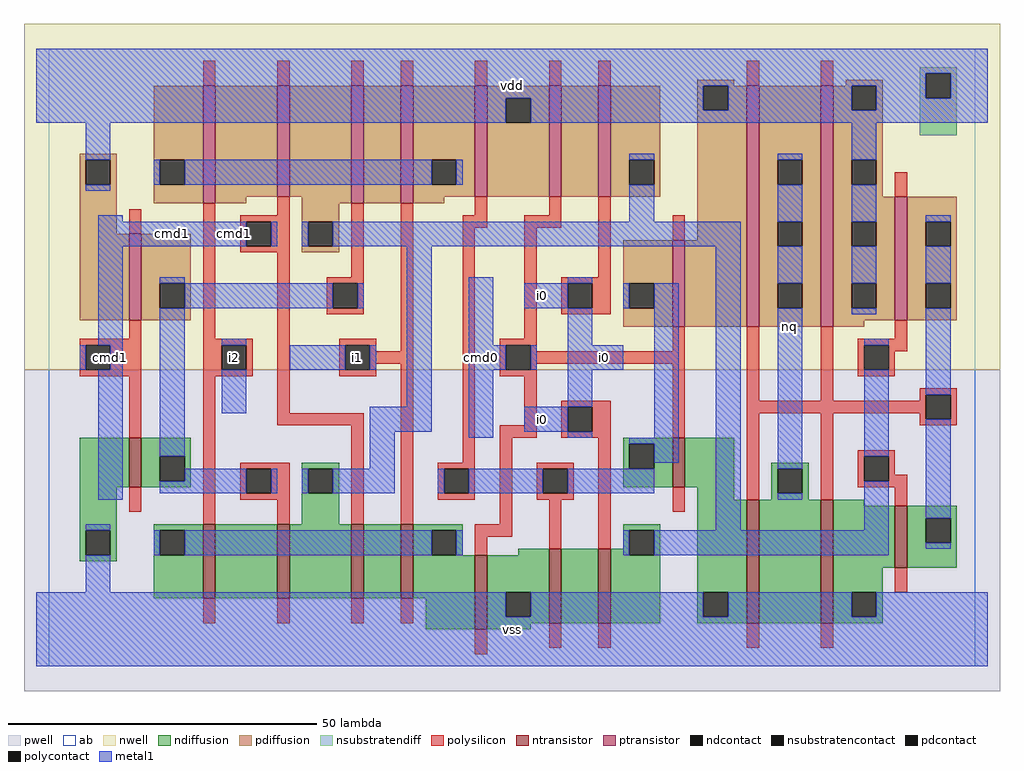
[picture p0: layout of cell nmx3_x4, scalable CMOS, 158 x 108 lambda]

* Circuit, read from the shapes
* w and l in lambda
.subckt nmx3_x4 cmd0 cmd1 i0 i1 i2 nq vdd vss
M1 n1 cmd1 vss VSUBS nfet w=8 l=2
M2 n2 i2 n3 VSUBS nfet w=12 l=2
M3 n4 n1 n2 VSUBS nfet w=12 l=2
M4 n5 cmd1 n4 VSUBS nfet w=12 l=2
M5 n3 i1 n5 VSUBS nfet w=12 l=2
M6 vss cmd0 n3 VSUBS nfet w=12 l=2
M7 n6 n7 vss VSUBS nfet w=12 l=2
M8 n4 i0 n6 VSUBS nfet w=12 l=2
M9 vss cmd0 n7 VSUBS nfet w=8 l=2
M10 nq n8 vss VSUBS nfet w=20 l=2 m=2
M11 n8 n4 vss VSUBS nfet w=10 l=2
M12 n1 cmd1 vdd vdd pfet w=14 l=2
M13 n9 i2 n10 vdd pfet w=19 l=2
M14 n4 cmd1 n9 vdd pfet w=18 l=2
M15 n11 n1 n4 vdd pfet w=19 l=2
M16 n10 i1 n11 vdd pfet w=19 l=2
M17 vdd n7 n10 vdd pfet w=18 l=2
M18 n12 cmd0 vdd vdd pfet w=18 l=2
M19 n4 i0 n12 vdd pfet w=18 l=2
M20 vdd cmd0 n7 vdd pfet w=14 l=2
M21 nq n8 vdd vdd pfet w=39 l=2 m=2
M22 n8 n4 vdd vdd pfet w=20 l=2
.ends

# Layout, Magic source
magic
tech scmos
<< ab >>
rect 0 0 150 100
<< pwell >>
rect -4 -4 154 48
<< nwell >>
rect -4 48 154 104
<< polysilicon >>
rect 25 94 27 98
rect 37 94 39 98
rect 49 94 51 98
rect 57 94 59 98
rect 69 94 71 98
rect 81 94 83 98
rect 89 94 91 98
rect 113 94 115 98
rect 125 94 127 98
rect 13 70 15 74
rect 13 53 15 56
rect 5 52 15 53
rect 5 48 6 52
rect 10 48 15 52
rect 5 47 15 48
rect 13 37 15 47
rect 25 53 27 75
rect 37 73 39 76
rect 31 72 39 73
rect 31 68 32 72
rect 36 68 39 72
rect 31 67 39 68
rect 25 52 33 53
rect 25 48 28 52
rect 32 48 33 52
rect 25 47 33 48
rect 13 25 15 29
rect 25 23 27 47
rect 37 41 39 67
rect 49 63 51 75
rect 45 62 51 63
rect 45 58 46 62
rect 50 58 51 62
rect 45 57 51 58
rect 47 52 53 53
rect 47 48 48 52
rect 52 51 53 52
rect 57 51 59 75
rect 69 73 71 76
rect 81 73 83 76
rect 52 49 59 51
rect 52 48 53 49
rect 47 47 53 48
rect 37 39 51 41
rect 31 32 39 33
rect 31 28 32 32
rect 36 28 39 32
rect 31 27 39 28
rect 37 23 39 27
rect 49 23 51 39
rect 57 23 59 49
rect 67 71 71 73
rect 77 71 83 73
rect 67 33 69 71
rect 77 53 79 71
rect 89 63 91 76
rect 101 69 103 73
rect 83 62 91 63
rect 83 58 84 62
rect 88 58 91 62
rect 83 57 91 58
rect 137 76 139 80
rect 73 52 79 53
rect 73 48 74 52
rect 78 51 79 52
rect 101 51 103 55
rect 78 49 103 51
rect 78 48 79 49
rect 73 47 79 48
rect 77 39 79 47
rect 63 32 69 33
rect 63 28 64 32
rect 68 28 69 32
rect 63 27 69 28
rect 73 37 79 39
rect 83 42 91 43
rect 83 38 84 42
rect 88 38 91 42
rect 83 37 91 38
rect 101 37 103 49
rect 113 43 115 55
rect 125 43 127 55
rect 137 53 139 56
rect 131 52 139 53
rect 131 48 132 52
rect 136 51 139 52
rect 136 48 137 51
rect 131 47 137 48
rect 141 44 147 45
rect 141 43 142 44
rect 113 41 142 43
rect 73 23 75 37
rect 79 32 85 33
rect 79 28 80 32
rect 84 28 85 32
rect 79 27 85 28
rect 69 21 75 23
rect 69 18 71 21
rect 81 19 83 27
rect 89 19 91 37
rect 101 25 103 29
rect 113 27 115 41
rect 125 27 127 41
rect 141 40 142 41
rect 146 40 147 44
rect 141 39 147 40
rect 131 34 137 35
rect 131 30 132 34
rect 136 31 137 34
rect 136 30 139 31
rect 131 29 139 30
rect 25 7 27 11
rect 37 7 39 11
rect 49 7 51 11
rect 57 7 59 11
rect 137 26 139 29
rect 137 12 139 16
rect 69 2 71 6
rect 81 3 83 7
rect 89 3 91 7
rect 113 3 115 7
rect 125 3 127 7
<< ndiffusion >>
rect 5 29 13 37
rect 15 34 23 37
rect 15 30 18 34
rect 22 30 23 34
rect 15 29 23 30
rect 5 22 11 29
rect 41 32 47 33
rect 41 28 42 32
rect 46 28 47 32
rect 41 23 47 28
rect 5 18 6 22
rect 10 18 11 22
rect 5 17 11 18
rect 17 22 25 23
rect 17 18 18 22
rect 22 18 25 22
rect 17 11 25 18
rect 27 11 37 23
rect 39 11 49 23
rect 51 11 57 23
rect 59 22 67 23
rect 59 18 62 22
rect 66 18 67 22
rect 93 36 101 37
rect 93 32 94 36
rect 98 32 101 36
rect 93 29 101 32
rect 103 29 111 37
rect 105 27 111 29
rect 117 32 123 33
rect 117 28 118 32
rect 122 28 123 32
rect 117 27 123 28
rect 93 22 99 23
rect 93 19 94 22
rect 76 18 81 19
rect 59 11 69 18
rect 61 6 69 11
rect 71 12 81 18
rect 71 8 74 12
rect 78 8 81 12
rect 71 7 81 8
rect 83 7 89 19
rect 91 18 94 19
rect 98 18 99 22
rect 91 7 99 18
rect 105 12 113 27
rect 105 8 106 12
rect 110 8 113 12
rect 105 7 113 8
rect 115 7 125 27
rect 127 26 132 27
rect 127 16 137 26
rect 139 24 147 26
rect 139 20 142 24
rect 146 20 147 24
rect 139 16 147 20
rect 127 12 135 16
rect 127 8 130 12
rect 134 8 135 12
rect 127 7 135 8
rect 71 6 78 7
<< pdiffusion >>
rect 105 94 111 95
rect 129 94 135 95
rect 5 82 11 83
rect 5 78 6 82
rect 10 78 11 82
rect 5 70 11 78
rect 17 82 25 94
rect 17 78 18 82
rect 22 78 25 82
rect 17 75 25 78
rect 27 76 37 94
rect 39 76 49 94
rect 27 75 32 76
rect 5 56 13 70
rect 15 62 23 70
rect 15 58 18 62
rect 22 58 23 62
rect 15 56 23 58
rect 41 75 49 76
rect 51 75 57 94
rect 59 82 69 94
rect 59 78 62 82
rect 66 78 69 82
rect 59 76 69 78
rect 71 92 81 94
rect 71 88 74 92
rect 78 88 81 92
rect 71 76 81 88
rect 83 76 89 94
rect 91 82 99 94
rect 91 78 94 82
rect 98 78 99 82
rect 91 76 99 78
rect 105 90 106 94
rect 110 90 113 94
rect 59 75 64 76
rect 41 72 47 75
rect 41 68 42 72
rect 46 68 47 72
rect 41 67 47 68
rect 105 69 113 90
rect 93 62 101 69
rect 93 58 94 62
rect 98 58 101 62
rect 93 55 101 58
rect 103 55 113 69
rect 115 82 125 94
rect 115 78 118 82
rect 122 78 125 82
rect 115 72 125 78
rect 115 68 118 72
rect 122 68 125 72
rect 115 62 125 68
rect 115 58 118 62
rect 122 58 125 62
rect 115 55 125 58
rect 127 90 130 94
rect 134 90 135 94
rect 127 82 135 90
rect 127 78 130 82
rect 134 78 135 82
rect 127 76 135 78
rect 127 72 137 76
rect 127 68 130 72
rect 134 68 137 72
rect 127 62 137 68
rect 127 58 130 62
rect 134 58 137 62
rect 127 56 137 58
rect 139 72 147 76
rect 139 68 142 72
rect 146 68 147 72
rect 139 62 147 68
rect 139 58 142 62
rect 146 58 147 62
rect 139 56 147 58
rect 127 55 132 56
<< metal1 >>
rect -2 96 152 100
rect -2 94 142 96
rect -2 92 106 94
rect -2 88 74 92
rect 78 90 106 92
rect 110 90 130 94
rect 134 92 142 94
rect 146 92 152 96
rect 134 90 152 92
rect 78 88 152 90
rect 6 82 10 88
rect 94 82 98 83
rect 17 78 18 82
rect 22 78 62 82
rect 66 78 67 82
rect 6 77 10 78
rect 8 72 12 73
rect 94 72 98 78
rect 118 82 122 83
rect 118 72 122 78
rect 8 68 32 72
rect 36 68 37 72
rect 41 68 42 72
rect 46 68 112 72
rect 8 52 12 68
rect 5 48 6 52
rect 10 48 12 52
rect 8 27 12 48
rect 18 62 22 63
rect 22 58 46 62
rect 50 58 51 62
rect 18 34 22 58
rect 28 52 32 53
rect 39 48 48 52
rect 52 48 53 52
rect 28 41 32 48
rect 58 42 62 68
rect 52 38 62 42
rect 68 52 72 63
rect 84 62 88 63
rect 77 58 84 62
rect 93 58 94 62
rect 84 52 88 58
rect 68 48 74 52
rect 78 48 79 52
rect 84 48 93 52
rect 52 32 56 38
rect 68 37 72 48
rect 84 42 88 48
rect 77 38 84 42
rect 84 37 88 38
rect 98 37 102 62
rect 94 36 102 37
rect 98 33 102 36
rect 22 30 32 32
rect 18 28 32 30
rect 36 28 37 32
rect 41 28 42 32
rect 46 28 56 32
rect 63 28 64 32
rect 68 28 80 32
rect 84 28 98 32
rect 6 22 10 23
rect 108 22 112 68
rect 118 62 122 68
rect 118 32 122 58
rect 130 82 134 88
rect 130 72 134 78
rect 130 62 134 68
rect 130 57 134 58
rect 142 72 146 73
rect 142 62 146 68
rect 118 27 122 28
rect 132 52 136 53
rect 132 34 136 48
rect 132 22 136 30
rect 17 18 18 22
rect 22 18 62 22
rect 66 18 67 22
rect 93 18 94 22
rect 98 18 136 22
rect 142 44 146 58
rect 142 24 146 40
rect 142 19 146 20
rect 6 12 10 18
rect -2 8 74 12
rect 78 8 106 12
rect 110 8 130 12
rect 134 8 152 12
rect -2 0 152 8
<< ntransistor >>
rect 13 29 15 37
rect 25 11 27 23
rect 37 11 39 23
rect 49 11 51 23
rect 57 11 59 23
rect 101 29 103 37
rect 69 6 71 18
rect 81 7 83 19
rect 89 7 91 19
rect 113 7 115 27
rect 125 7 127 27
rect 137 16 139 26
<< ptransistor >>
rect 25 75 27 94
rect 37 76 39 94
rect 13 56 15 70
rect 49 75 51 94
rect 57 75 59 94
rect 69 76 71 94
rect 81 76 83 94
rect 89 76 91 94
rect 101 55 103 69
rect 113 55 115 94
rect 125 55 127 94
rect 137 56 139 76
<< polycontact >>
rect 6 48 10 52
rect 32 68 36 72
rect 28 48 32 52
rect 46 58 50 62
rect 48 48 52 52
rect 32 28 36 32
rect 84 58 88 62
rect 74 48 78 52
rect 64 28 68 32
rect 84 38 88 42
rect 132 48 136 52
rect 80 28 84 32
rect 142 40 146 44
rect 132 30 136 34
<< ndcontact >>
rect 18 30 22 34
rect 42 28 46 32
rect 6 18 10 22
rect 18 18 22 22
rect 62 18 66 22
rect 94 32 98 36
rect 118 28 122 32
rect 74 8 78 12
rect 94 18 98 22
rect 106 8 110 12
rect 142 20 146 24
rect 130 8 134 12
<< pdcontact >>
rect 6 78 10 82
rect 18 78 22 82
rect 18 58 22 62
rect 62 78 66 82
rect 74 88 78 92
rect 94 78 98 82
rect 106 90 110 94
rect 42 68 46 72
rect 94 58 98 62
rect 118 78 122 82
rect 118 68 122 72
rect 118 58 122 62
rect 130 90 134 94
rect 130 78 134 82
rect 130 68 134 72
rect 130 58 134 62
rect 142 68 146 72
rect 142 58 146 62
<< nsubstratencontact >>
rect 142 92 146 96
<< nsubstratendiff >>
rect 141 96 147 97
rect 141 92 142 96
rect 146 92 147 96
rect 141 86 147 92
<< labels >>
rlabel metal1 10 50 10 50 6 cmd1
rlabel metal1 20 70 20 70 6 cmd1
rlabel polycontact 30 50 30 50 6 i2
rlabel polycontact 50 50 50 50 6 i1
rlabel metal1 30 70 30 70 6 cmd1
rlabel metal1 75 6 75 6 6 vss
rlabel metal1 80 40 80 40 6 i0
rlabel metal1 70 50 70 50 6 cmd0
rlabel metal1 80 60 80 60 6 i0
rlabel metal1 75 94 75 94 6 vdd
rlabel metal1 90 50 90 50 6 i0
rlabel metal1 120 55 120 55 6 nq
<< end >>
